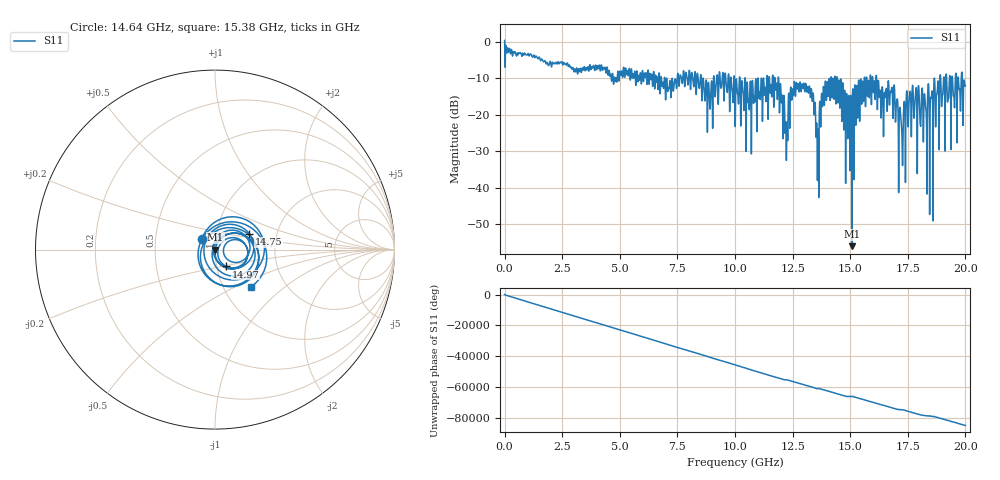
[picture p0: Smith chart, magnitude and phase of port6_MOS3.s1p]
! MS46122B
! 2250307/22442219
! 7/24/2025 12:40:40 PM
! C:\USERS\SPARKY\DOCUMENTS\VNA_DATA\JULY24_2025\295K\PORT6_MOS3.S1P
! CHANNEL.1
! TR.MEASUREMENT
! RAW.DATA
# GHZ S RI R 50.0
! FREQ.GHZ  S11RE  S11IM
!; PortSelection: Port_1
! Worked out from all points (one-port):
!   10001 points, 1 MHz to 20 GHz, reference 50 ohm
!   lowest |S11| = -56.1 dB at 15.07 GHz (marker M1), VSWR 1.00, Z = 50.2 + j0.0391 ohm
!   |S11| at or under -10 dB: 11.89 GHz to 14.16 GHz (2.271 GHz wide, 17.4 % of centre); 14.44 GHz to 15.61 GHz (1.176 GHz wide, 7.83 % of centre); 16.15 GHz to 18.65 GHz (2.5 GHz wide, 14.4 % of centre) (the widest 3 of 69)
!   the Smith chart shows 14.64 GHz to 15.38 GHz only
!   S11 on the Smith chart (normalised r, x): 14.64 GHz: 0.86, +0.11; 14.75 GHz: 1.45, +0.26; 14.97 GHz: 1.11, -0.21; 15.38 GHz: 1.34, -0.61
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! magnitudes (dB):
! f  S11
! 1 MHz  0.4
! 2.501 GHz  -5.8
! 5.001 GHz  -8.3
! 7.501 GHz  -9.4
! 8.443 GHz  -12.6
! 8.869 GHz  -12.4
! 9.399 GHz  -12.7
! 10 GHz  -17.0
! 11.81 GHz  -11.5
! 12.22 GHz  -27.7
! 12.5 GHz  -12.9
! 13.31 GHz  -12.9
! 13.57 GHz  -32.5
! 13.76 GHz  -14.2
! 14 GHz  -11.0
! 14.64 GHz  -20.5
! 14.75 GHz  -13.5
! 14.97 GHz  -18.9
! 15 GHz  -20.7
! 15.07 GHz  -56.1
! 15.38 GHz  -10.8
! 16.73 GHz  -14.4
! 17.19 GHz  -20.9
! 17.5 GHz  -19.9
! 17.78 GHz  -19.2
! 18.37 GHz  -13.3
! 18.99 GHz  -15.5
! 20 GHz  -12.0
